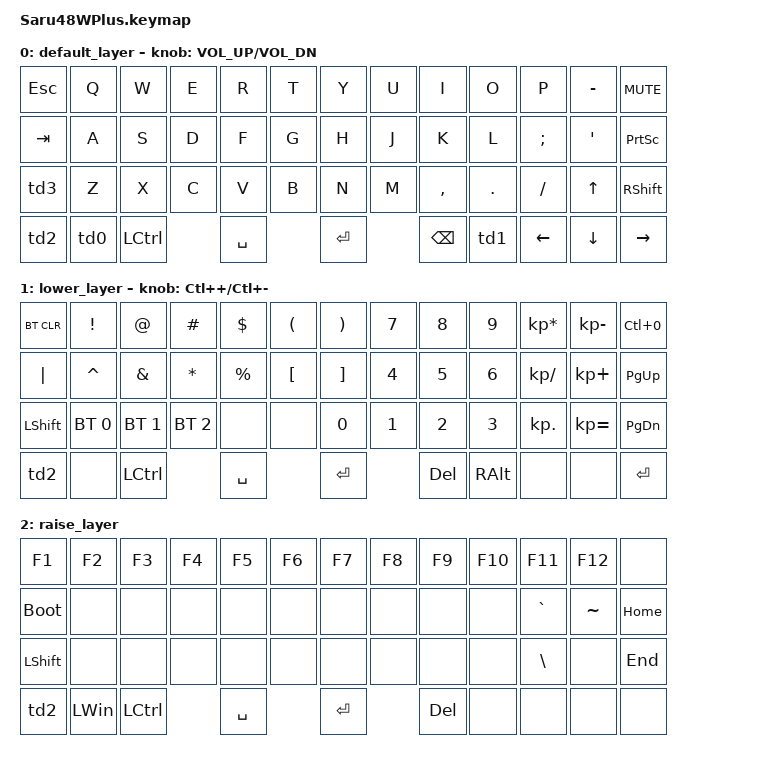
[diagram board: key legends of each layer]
/*
 * Copyright (c) 2022 The ZMK Contributors
 *
 * SPDX-License-Identifier: MIT
 */

#include <behaviors.dtsi>
#include <dt-bindings/zmk/keys.h>
#include <dt-bindings/zmk/bt.h>

/* Layers */
#define DEFAULT 0
#define LOWER   1
#define RAISE   2


//&lt {
//    tapping-term-ms = <200>;
//};

/ {
    behaviors {
        td0: tap_dance_0 {
            compatible = "zmk,behavior-tap-dance";
            #binding-cells = <0>;
            tapping-term-ms = <200>;
            bindings = <&mo LOWER>, <&kp LWIN>;
        };
        td1: tap_dance_1 {
            compatible = "zmk,behavior-tap-dance";
            #binding-cells = <0>;
            tapping-term-ms = <200>;
            bindings = <&mo RAISE>, <&kp RALT>;
        };
        td2: tap_dance_2 {
            compatible = "zmk,behavior-tap-dance";
            #binding-cells = <0>;
            tapping-term-ms = <200>;
            bindings = <&kp LALT>, <&kp RGUI>;
        };
        td3: tap_dance_3 {
            compatible = "zmk,behavior-tap-dance";
            #binding-cells = <0>;
            tapping-term-ms = <200>;
            bindings = <&kp LSHIFT>, <&kp SYSREQ>;
        };
    };

    keymap {
        compatible = "zmk,keymap";

        default_layer {
// -----------------------------------------------------------------------------------------------------------------------------------
// |   ESC   |    Q    |    W    |    E    |    R    |    T    |    Y    |    U    |    I    |    O    |    P    |    -    |  MUTE   |
// |   TAB   |    A    |    S    |    D    |    F    |    G    |    H    |    J    |    K    |    L    |    ;    |    '    |  PRINT  |
// |  SHIFT  |    Z    |    X    |    C    |    V    |    B    |    N    |    M    |    ,    |    .    |    /    |   UP    |  SHIFT  |
// |LALT/RGUI|LOW/LWIN |  LCTRL  |         |  SPACE  |         | RETURN  |         |BACKSPACE|RAI/RALT |  LEFT   |  DOWN   |  RIGHT  |
// -----------------------------------------------------------------------------------------------------------------------------------
            bindings = <
    &kp ESC    &kp Q   &kp W     &kp E     &kp R     &kp T     &kp Y     &kp U     &kp I     &kp O     &kp P     &kp MINUS &kp C_MUTE
    &kp TAB    &kp A   &kp S     &kp D     &kp F     &kp G     &kp H     &kp J     &kp K     &kp L     &kp SEMI  &kp SQT   &kp PSCRN
    &td3       &kp Z   &kp X     &kp C     &kp V     &kp B     &kp N     &kp M     &kp COMMA &kp DOT   &kp FSLH  &kp UP    &kp RSHIFT
    &td2       &td0    &kp LCTRL           &kp SPACE           &kp RET             &kp BSPC  &td1      &kp LEFT  &kp DOWN  &kp RIGHT
            >;

            sensor-bindings = <&inc_dec_kp C_VOL_UP C_VOL_DN>;
        };

        lower_layer {
// -----------------------------------------------------------------------------------------------------------------------------------
// | BT CLR  |    !    |    @    |    #    |    $    |    (    |    )    |    7    |    8    |    9    |    *    |    -    |ZOOMRESET|
// |    |    |    ^    |    &    |    *    |    %    |    [    |    ]    |    4    |    5    |    6    |    /    |    +    |  PgUP   |
// |  SHIFT  |   BT1   |   BT2   |   BT3   |         |         |    0    |    1    |    2    |    3    |    .    |    =    |  PgDN   |
// |LALT/RALT|  XXXXX  |  LCTRL  |         |  SPACE  |         | RETURN  |         |   DEL   |  RALT   |         |         |  RETURN |
// -----------------------------------------------------------------------------------------------------------------------------------
            bindings = <
    &bt BT_CLR &kp EXCL     &kp AT       &kp HASH     &kp DLLR  &kp LPAR &kp RPAR  &kp N7    &kp N8    &kp N9    &kp KP_ASTERISK &kp KP_MINUS &kp LC(N0)
    &kp PIPE   &kp CARET    &kp AMPS     &kp STAR     &kp PRCNT &kp LBKT &kp RBKT  &kp N4    &kp N5    &kp N6    &kp KP_SLASH    &kp KP_PLUS  &kp PG_UP
    &kp LSHIFT &bt BT_SEL 0 &bt BT_SEL 1 &bt BT_SEL 2 &none     &none    &kp N0    &kp N1    &kp N2    &kp N3    &kp KP_DOT      &kp KP_EQUAL &kp PG_DN
    &td2       &none        &kp LCTRL                 &kp SPACE          &kp RET             &kp DEL   &kp RALT  &none           &none        &kp RET
            >;

            sensor-bindings = <&inc_dec_kp LC(PLUS) LC(MINUS)>;
        };

        raise_layer {
// -----------------------------------------------------------------------------------------------------------------------------------
// |   F1    |   F2    |   F3    |   F4    |   F5    |   F6    |   F7    |   F8    |   F9    |   F10   |   F11   |   F12   |         |
// | BOOTLDR |         |         |         |         |         |         |         |         |         |    `    |    ~    |  HOME   |
// |  SHIFT  |         |         |         |         |         |         |         |         |         |    \    |         |   END   |
// |LALT/RALT|  LWIN   |  LCTRL  |         |  SPACE  |         | RETURN  |         |   DEL   |  XXXXX  |         |         |         |
// -----------------------------------------------------------------------------------------------------------------------------------
            bindings = <
    &kp F1      &kp F2   &kp F3    &kp F4  &kp F5    &kp F6    &kp F7    &kp F8    &kp F9    &kp F10   &kp F11   &kp F12   &none
    &bootloader &none    &none     &none   &none     &none     &none     &none     &none     &none     &kp GRAVE &kp TILDE &kp HOME
    &kp LSHIFT  &none    &none     &none   &none     &none     &none     &none     &none     &none     &kp BSLH  &none     &kp END
    &td2        &kp LWIN &kp LCTRL         &kp SPACE           &kp RET             &kp DEL   &none     &none     &none     &none
            >;

            //sensor-bindings = <&inc_dec_kp C_VOL_UP C_VOL_DN>;
        };
    };
};
